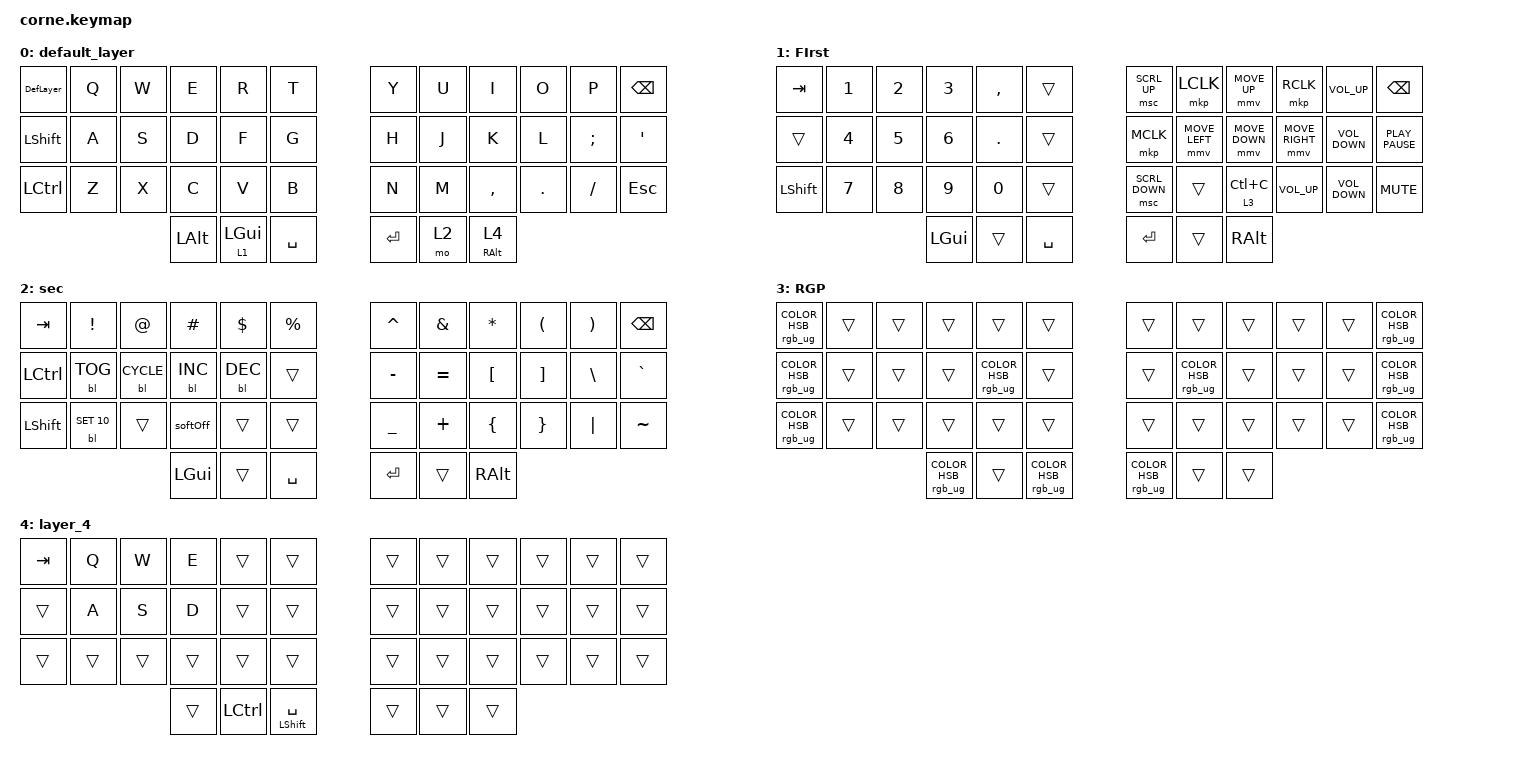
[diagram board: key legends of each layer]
/*
 * Copyright (c) 2020 The ZMK Contributors
 *
 * SPDX-License-Identifier: MIT
 */

#include <behaviors.dtsi>
#include <dt-bindings/zmk/backlight.h>
#include <dt-bindings/zmk/keys.h>
#include <dt-bindings/zmk/outputs.h>
#include <dt-bindings/zmk/pointing.h>
#include <dt-bindings/zmk/rgb.h>

/ {
    combos {
        compatible = "zmk,combos";

        BLT {
            bindings = <&bl BL_TOG>;
            key-positions = <5 0>;
        };

        TOgOut {
            bindings = <&out OUT_TOG>;
            key-positions = <0 11>;
        };

        ToUsB {
            bindings = <&out OUT_USB>;
            key-positions = <37 40 0 11>;
        };
    };

    behaviors {
        softOff: softOff {
            compatible = "zmk,behavior-soft-off";
            label = "SOFTOFF";
            #binding-cells = <0>;
            hold-time-ms = <5000>;
        };

        lyer4: lyer4 {
            compatible = "zmk,behavior-hold-tap";
            label = "LYER4";
            bindings = <&kp>, <&tog>;

            #binding-cells = <2>;
            hold-trigger-key-positions = <0 0 1 2 3 4 5 12 13 14 15 16 17 24 25 26 27 28 29 36 37 38>;
            tapping-term-ms = <1>;
        };

        ALTandSD: ALTandSD {
            compatible = "zmk,behavior-tap-dance";
            label = "ALTANDSD";
            #binding-cells = <0>;
            bindings = <&kp LEFT_ALT>, <&test>;
        };

        DefLayer: DefLayer {
            compatible = "zmk,behavior-tap-dance";
            label = "DEFLAYER";
            #binding-cells = <0>;
            bindings = <&kp ESC>, <&tog 0>;
        };

        layerTriger: layerTriger {
            compatible = "zmk,behavior-tap-dance";
            label = "LAYERTRIGER";
            #binding-cells = <0>;
            bindings = <&MoKp 1 LEFT_GUI>, <&tog 2>, <&tog 3>;
        };

        new_behavior: new_behavior {
            compatible = "zmk,behavior-hold-tap";
            label = "NEW_BEHAVIOR";
            bindings = <&mo>, <&kp>;

            #binding-cells = <2>;
            tapping-term-ms = <50>;
            hold-trigger-key-positions = <0 5>;
        };

        MoKp: MoKp {
            compatible = "zmk,behavior-hold-tap";
            label = "MOKP";
            bindings = <&mo>, <&kp>;

            #binding-cells = <2>;
            tapping-term-ms = <52>;
        };
    };

    macros {
        test: test {
            compatible = "zmk,behavior-macro";
            #binding-cells = <0>;
            bindings = <&kp LC(C) &kp LA(TAB)>, <&macro_press>;

            label = "TEST";
        };
    };

    keymap {
        compatible = "zmk,keymap";

        default_layer {
            bindings = <
&DefLayer       &kp Q  &kp W  &kp E         &kp R           &kp T        &kp Y    &kp U  &kp I               &kp O    &kp P     &kp BSPC
&kp LEFT_SHIFT  &kp A  &kp S  &kp D         &kp F           &kp G        &kp H    &kp J  &kp K               &kp L    &kp SEMI  &kp SQT
&kp LCTRL       &kp Z  &kp X  &kp C         &kp V           &kp B        &kp N    &kp M  &kp COMMA           &kp DOT  &kp FSLH  &kp ESC
                              &kp LEFT_ALT  &lt 1 LEFT_GUI  &kp SPACE    &kp RET  &mo 2  &lyer4 RIGHT_ALT 4
            >;
        };

        FIrst {
            bindings = <
&kp TAB    &kp N1        &kp N2  &kp N3        &kp COMMA     &trans       &msc SCRL_UP    &mkp LCLK       &mmv MOVE_UP    &mkp RCLK        &kp C_VOLUME_UP    &kp BSPC
&trans     &kp NUMBER_4  &kp N5  &kp NUMBER_6  &kp PERIOD    &trans       &mkp MCLK       &mmv MOVE_LEFT  &mmv MOVE_DOWN  &mmv MOVE_RIGHT  &kp C_VOLUME_DOWN  &kp K_PLAY_PAUSE
&kp LSHFT  &kp N7        &kp N8  &kp N9        &kp NUMBER_0  &trans       &msc SCRL_DOWN  &trans          &lt 3 LC(C)     &kp C_VOLUME_UP  &kp C_VOLUME_DOWN  &kp K_MUTE
                                 &kp LGUI      &trans        &kp SPACE    &kp RET         &trans          &kp RALT
            >;
        };

        sec {
            // -----------------------------------------------------------------------------------------
            // |  TAB |  !  |  @  |  #  |  $  |  %  |   |  ^  |  &  |  *  |  (  |  )  | BSPC |
            // | CTRL |     |     |     |     |     |   |  -  |  =  |  [  |  ]  |  \  |  `   |
            // | SHFT |     |     |     |     |     |   |  _  |  +  |  {  |  }  | "|" |  ~   |
            //                    | GUI |     | SPC |   | ENT |     | ALT |

            bindings = <
&kp TAB    &kp EXCL       &kp AT        &kp HASH    &kp DLLR    &kp PRCNT    &kp CARET  &kp AMPS   &kp ASTRK  &kp LPAR  &kp RPAR  &kp BSPC
&kp LCTRL  &bl BL_TOG     &bl BL_CYCLE  &bl BL_INC  &bl BL_DEC  &trans       &kp MINUS  &kp EQUAL  &kp LBKT   &kp RBKT  &kp BSLH  &kp GRAVE
&kp LSHFT  &bl BL_SET 10  &trans        &softOff    &trans      &trans       &kp UNDER  &kp PLUS   &kp LBRC   &kp RBRC  &kp PIPE  &kp TILDE
                                        &kp LGUI    &trans      &kp SPACE    &kp RET    &trans     &kp RALT
            >;
        };

        RGP {
            bindings = <
&rgb_ug RGB_COLOR_HSB(0,100,50)  &trans  &trans  &trans                          &trans                             &trans                               &trans                             &trans                             &trans  &trans  &trans  &rgb_ug RGB_COLOR_HSB(0,99,52)
&rgb_ug RGB_COLOR_HSB(0,100,50)  &trans  &trans  &trans                          &rgb_ug RGB_COLOR_HSB(226,100,50)  &trans                               &trans                             &rgb_ug RGB_COLOR_HSB(235,100,50)  &trans  &trans  &trans  &rgb_ug RGB_COLOR_HSB(0,98,51)
&rgb_ug RGB_COLOR_HSB(0,100,50)  &trans  &trans  &trans                          &trans                             &trans                               &trans                             &trans                             &trans  &trans  &trans  &rgb_ug RGB_COLOR_HSB(0,97,51)
                                                 &rgb_ug RGB_COLOR_HSB(0,94,50)  &trans                             &rgb_ug RGB_COLOR_HSB(213,100,50)    &rgb_ug RGB_COLOR_HSB(220,100,50)  &trans                             &trans
            >;
        };

        layer_4 {
            bindings = <
&kp TAB  &kp Q   &kp W   &kp E   &trans     &trans                  &trans  &trans  &trans  &trans  &trans  &trans
&trans   &kp A   &kp S   &kp D   &trans     &trans                  &trans  &trans  &trans  &trans  &trans  &trans
&trans   &trans  &trans  &trans  &trans     &trans                  &trans  &trans  &trans  &trans  &trans  &trans
                         &trans  &kp LCTRL  &mt LEFT_SHIFT SPACE    &trans  &trans  &trans
            >;
        };
    };

    conditional_layers {
        compatible = "zmk,conditional-layers";

        Enable_l3 {
            if-layers = <1 2>;
            then-layer = <3>;
        };
    };
};
